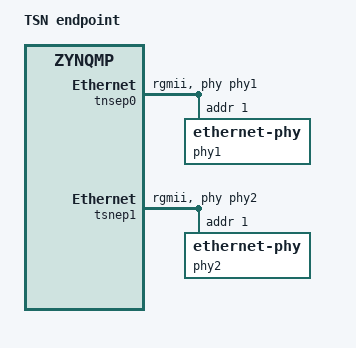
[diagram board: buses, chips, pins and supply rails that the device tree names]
// SPDX-License-Identifier: (GPL-2.0-or-later OR BSD-2-Clause)
/*
 * TSN endpoint on Xilinx ZCU104 with Avnet AES-FMC-NETW1-G
 *
 * Copyright (C) 2021 Gerhard Engleder <engleder.gerhard@gmail.com>
 */

/dts-v1/;

#include "zynqmp-zcu104-revC.dts"

/ {
	model = "TSN endpoint";
	compatible = "engleder,zynqmp-tsnep", "xlnx,zynqmp-zcu104-revC",
		     "xlnx,zynqmp-zcu104", "xlnx,zynqmp";

	amba: axi {
		tnsep0: ethernet@a0000000 {
			compatible = "engleder,tsnep";
			reg = <0x0 0xa0000000 0x0 0x10000>;
			interrupts = <0 89 1>;
			interrupt-parent = <&gic>;
			local-mac-address = [00 00 00 00 00 00];
			phy-mode = "rgmii";
			phy-handle = <&phy1>;
			#address-cells = <1>;
			#size-cells = <0>;
			phy1: ethernet-phy@1 {
				reg = <1>;
				rxc-skew-ps = <1080>;
			};
		};

		tsnep1: ethernet@a0010000 {
			compatible = "engleder,tsnep";
			reg = <0x0 0xa0010000 0x0 0x10000>;
			interrupts = <0 90 1>;
			interrupt-parent = <&gic>;
			local-mac-address = [00 00 00 00 00 00];
			phy-mode = "rgmii";
			phy-handle = <&phy2>;
			#address-cells = <1>;
			#size-cells = <0>;
			phy2: ethernet-phy@1 {
				reg = <1>;
				rxc-skew-ps = <1080>;
			};
		};
	};
};
